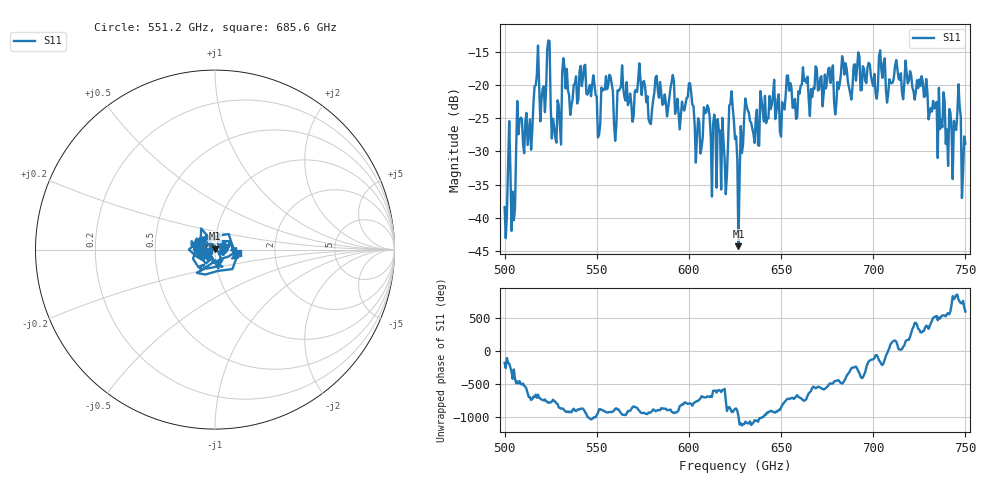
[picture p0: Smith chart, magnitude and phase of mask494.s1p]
!Created with skrf (http://scikit-rf.org).
# GHz S MA R 50.0
!freq magS11 angS11
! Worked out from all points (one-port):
!   401 points, 500 GHz to 750 GHz, reference 50 ohm
!   lowest |S11| = -44.3 dB at 626.9 GHz (marker M1), VSWR 1.01, Z = 49.9 + j0.605 ohm
!   |S11| at or under -10 dB: start of sweep to end of sweep
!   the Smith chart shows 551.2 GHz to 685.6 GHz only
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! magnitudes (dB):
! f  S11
! 500 GHz  -38.4
! 503.1 GHz  -32.6
! 505 GHz  -40.4
! 508.1 GHz  -25.2
! 513.8 GHz  -25.2
! 517.5 GHz  -18.5
! 520.6 GHz  -20.6
! 523.8 GHz  -13.3
! 526.9 GHz  -26.2
! 531.2 GHz  -18.0
! 542.5 GHz  -19.0
! 550.6 GHz  -27.9
! 562.5 GHz  -20.6
! 593.8 GHz  -22.1
! 600 GHz  -19.8
! 605 GHz  -25.0
! 609.4 GHz  -24.1
! 620 GHz  -36.4
! 623.1 GHz  -20.9
! 625 GHz  -28.1
! 626.9 GHz  -44.3
! 631.2 GHz  -23.1
! 656.2 GHz  -23.4
! 687.5 GHz  -21.2
! 718.8 GHz  -19.7
! 741.9 GHz  -24.1
! 746.2 GHz  -19.9
! 750 GHz  -28.8
